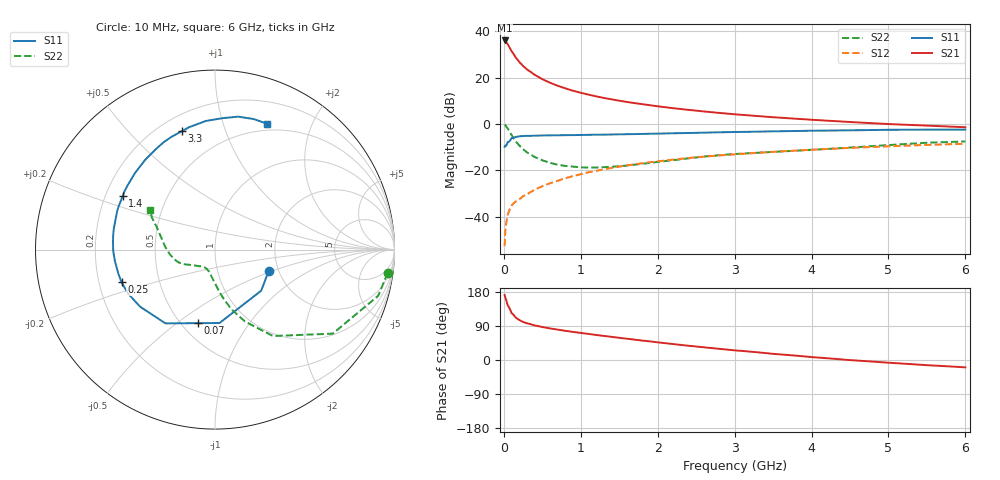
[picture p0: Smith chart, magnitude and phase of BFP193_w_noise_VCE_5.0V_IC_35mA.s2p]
! Infineon Technologies  Discrete & RF Semiconductors
! BFP193
! VCE =  5.0 V,  IC =  35 mA
! Common Emitter S-Parameters:  Jan 2017
# GHz  S  MA  R  50
!  f  S11  S21  S12  S22
! GHz  MAG  ANG  MAG  ANG  MAG  ANG  MAG  ANG
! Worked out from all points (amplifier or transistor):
!   77 points, 10 MHz to 6 GHz, reference 50 ohm
!   highest |S21| = 36.1 dB at 10 MHz (marker M1)
!   |S21| within 3 dB of that: start of sweep to 73.61 MHz
!   unconditionally stable (mu >= 1): 669.1 MHz to 2.426 GHz
!   at 130 MHz: K = 0.52, MSG = 32.1 dB, |S12| = -34.2 dB
!   at 2.2 GHz: K = 1.01, MAG = 10.5 dB, |S12| = -15.4 dB
!   at 6 GHz: K = 0.92, MSG = 3.6 dB, |S12| = -8.5 dB
!   lowest NFmin = 1.29 dB at 450 MHz
!   S11 on the Smith chart (normalised r, x): 10 MHz: 1.78, -0.47; 70 MHz: 0.60, -0.60; 250 MHz: 0.30, -0.16; 1.4 GHz: 0.27, +0.25; 3.3 GHz: 0.29, +0.72; 6 GHz: 0.43, +1.41
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0.01  0.3221 -21.6  64.02 171.7  0.0023 82.4  0.9711 -7.7
0.02  0.3445 -41.7  62.91 164.2  0.0052 81.6  0.9449 -15.8
0.05  0.4098 -86.5  53.19 144.4  0.011 63.6  0.8063 -35.5
0.07  0.4208 -103.1  46.46 137.9  0.0135 60.7  0.7058 -42.1
0.1  0.4952 -123.9  38 124.0  0.0173 57.9  0.5803 -56.1
0.15  0.5247 -142.7  28.12 112.7  0.021 56.6  0.4337 -67.4
0.2  0.5428 -153.1  22.05 105.6  0.0235 57.7  0.3457 -74.5
0.25  0.5516 -160.7  18.02 100.4  0.0276 58.6  0.2866 -79.3
0.3  0.5549 -165.9  15.19 96.9  0.0303 59.8  0.245 -83.2
0.4  0.5614 -173.5  11.6 91.2  0.038 62.3  0.1944 -89.0
0.5  0.5672 -179.3  9.325 87.0  0.0452 64.1  0.1648 -94.2
0.6  0.5694 176.2  7.822 83.3  0.0527 65.1  0.1455 -98.9
0.7  0.5728 172.3  6.717 80.2  0.0595 65.9  0.1319 -102.6
0.9  0.5774 164.8  5.241 74.1  0.0752 65.6  0.1204 -110.3
1.1  0.5857 158.6  4.32 68.8  0.0907 64.7  0.1153 -117.3
1.4  0.595 149.6  3.423 61.1  0.1129 61.9  0.1191 -127.8
2.1  0.6265 130.7  2.312 44.4  0.1634 54.0  0.1587 -147.1
3.1  0.6768 109.2  1.58 23.9  0.2275 41.8  0.23 -166.0
3.3  0.6855 105.5  1.489 20.3  0.2391 39.5  0.24 -169.7
4.1  0.7205 92.6  1.212 6.2  0.2839 30.1  0.2836 174.5
5.1  0.7525 78.8  0.985 -8.4  0.3355 18.8  0.3598 157.2
6  0.7589 67.6  0.854 -19.4  0.3757 8.7  0.4211 148.8
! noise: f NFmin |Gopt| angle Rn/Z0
0.45  1.29  0.37  -172  0.08
0.9  1.35  0.4  -169  0.08
1.9  1.95  0.58  -135  0.18
2.4  2.29  0.62  -120  0.4
